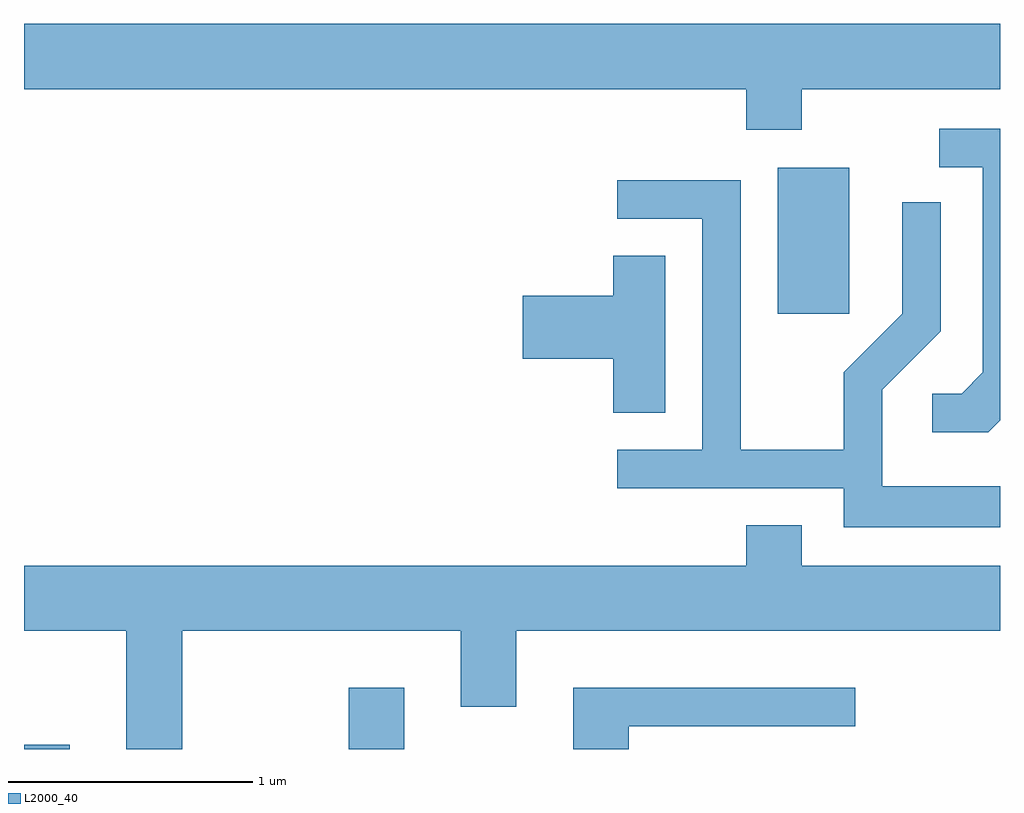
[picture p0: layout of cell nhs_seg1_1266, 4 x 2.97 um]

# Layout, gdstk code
import gdstk
lib = gdstk.Library(unit=1e-6, precision=1e-09)
def R(c, l, rs):  # rectangles x0, y0, x1, y1
    for r in rs: c.add(gdstk.rectangle(r[:2], r[2:], *l))
def P(c, l, *ps):  # polygons
    for p in ps: c.add(gdstk.Polygon(p, *l))
L2000_40 = (2000, 40)

nhs_seg1_1266 = lib.new_cell('nhs_seg1_1266')
R(nhs_seg1_1266, L2000_40, [(223.611,945.712,223.799,945.729), (224.941,945.712,225.169,945.964), (226.701,947.496,226.994,948.094)])
P(nhs_seg1_1266, L2000_40, [(226.799,948.416),(227.611,948.416),(227.611,948.684),(223.611,948.684),(223.611,948.416),(226.571,948.416),(226.571,948.251),(226.799,948.251)],
  [(227.611,947.06),(227.611,948.254),(227.363,948.254),(227.363,948.096),(227.541,948.096),(227.541,947.257),(227.454,947.169),(227.333,947.169),(227.333,947.011),(227.562,947.011)],
  [(227.611,946.789),(227.129,946.789),(227.129,947.184),(227.369,947.424),(227.369,947.953),(227.211,947.953),(227.211,947.497),(226.971,947.257),(226.971,946.939),(226.549,946.939),(226.549,948.044),(226.043,948.044),(226.043,947.886),(226.391,947.886),(226.391,946.939),(226.043,946.939),(226.043,946.781),(226.971,946.781),(226.971,946.621),(227.611,946.621)],
  [(226.239,947.734),(226.026,947.734),(226.026,947.569),(225.656,947.569),(225.656,947.311),(226.026,947.311),(226.026,947.091),(226.239,947.091)],
  [(224.259,946.196),(225.401,946.196),(225.401,945.886),(225.629,945.886),(225.629,946.196),(227.611,946.196),(227.611,946.464),(226.799,946.464),(226.799,946.629),(226.571,946.629),(226.571,946.464),(223.611,946.464),(223.611,946.196),(224.031,946.196),(224.031,945.712),(224.259,945.712)],
  [(226.089,945.806),(227.018,945.806),(227.018,945.964),(225.861,945.964),(225.861,945.712),(226.089,945.712)])

lib.write_gds('nhs_seg1_1266.gds')
